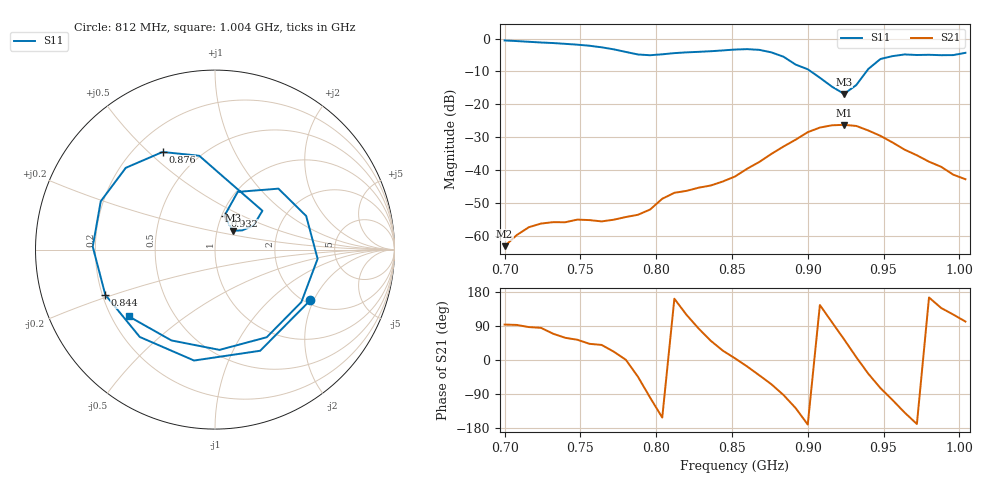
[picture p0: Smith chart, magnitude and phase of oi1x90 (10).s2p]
# Hz S RI R 50
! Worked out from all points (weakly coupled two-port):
!   39 points, 700 MHz to 1.004 GHz, reference 50 ohm
!   highest |S21| = -26.24 dB at 924 MHz (marker M1); lowest = -63.2 dB at 700 MHz (marker M2)
!   lowest |S11| = -16.8 dB at 924 MHz (marker M3), VSWR 1.34, Z = 59.4 + j12.8 ohm
!   |S11| at or under -10 dB: 902.1 MHz to 938.7 MHz (36.66 MHz wide, 3.98 % of centre)
!   S12 and S22 are empty: the file has one direction only
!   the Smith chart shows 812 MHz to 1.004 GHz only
!   S11 on the Smith chart (normalised r, x): 812 MHz: 2.13, -1.88; 844 MHz: 0.21, -0.19; 876 MHz: 0.31, +0.55; 932 MHz: 1.03, +0.41; 1.004 GHz: 0.27, -0.32
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7e8  0.7576 0.5511  -4.23e-05 0.000695  0 0  0 0
7.24e8  0.838 -0.2418  0.000137 0.00153  0 0  0 0
7.4e8  0.4564 -0.6958  0.000838 0.00137  0 0  0 0
7.56e8  -0.1894 -0.7553  0.00128 0.00118  0 0  0 0
7.72e8  -0.6577 -0.1964  0.00163 0.000659  0 0  0 0
7.8e8  -0.5856 0.223  0.00193 1.76e-05  0 0  0 0
7.88e8  -0.2356 0.5226  0.00149 -0.00146  0 0  0 0
7.96e8  0.2374 0.5053  -0.000403 -0.00248  0 0  0 0
8.04e8  0.5548 0.1582  -0.00323 -0.00172  0 0  0 0
8.12e8  0.5307 -0.2825  -0.00429 0.00141  0 0  0 0
8.28e8  -0.1166 -0.618  0.000655 0.00536  0 0  0 0
8.44e8  -0.6112 -0.2517  0.0061 0.00279  0 0  0 0
8.52e8  -0.6812 0.0162  0.00796 0.000615  0 0  0 0
8.76e8  -0.2921 0.5439  0.00773 -0.0158  0 0  0 0
9e8  0.2642 0.2163  -0.0372 -0.00634  0 0  0 0
9.08e8  0.2151 0.1349  -0.0364 0.0254  0 0  0 0
9.24e8  0.0984 0.1053  0.0284 0.0396  0 0  0 0
9.32e8  0.053 0.1891  0.0465 0.0061  0 0  0 0
9.48e8  0.3535 0.3395  0.00893 -0.0319  0 0  0 0
9.56e8  0.5081 0.1871  -0.00721 -0.0252  0 0  0 0
9.8e8  0.2882 -0.4883  -0.013 0.00348  0 0  0 0
1.004e9  -0.4799 -0.3724  -0.00145 0.00711  0 0  0 0
